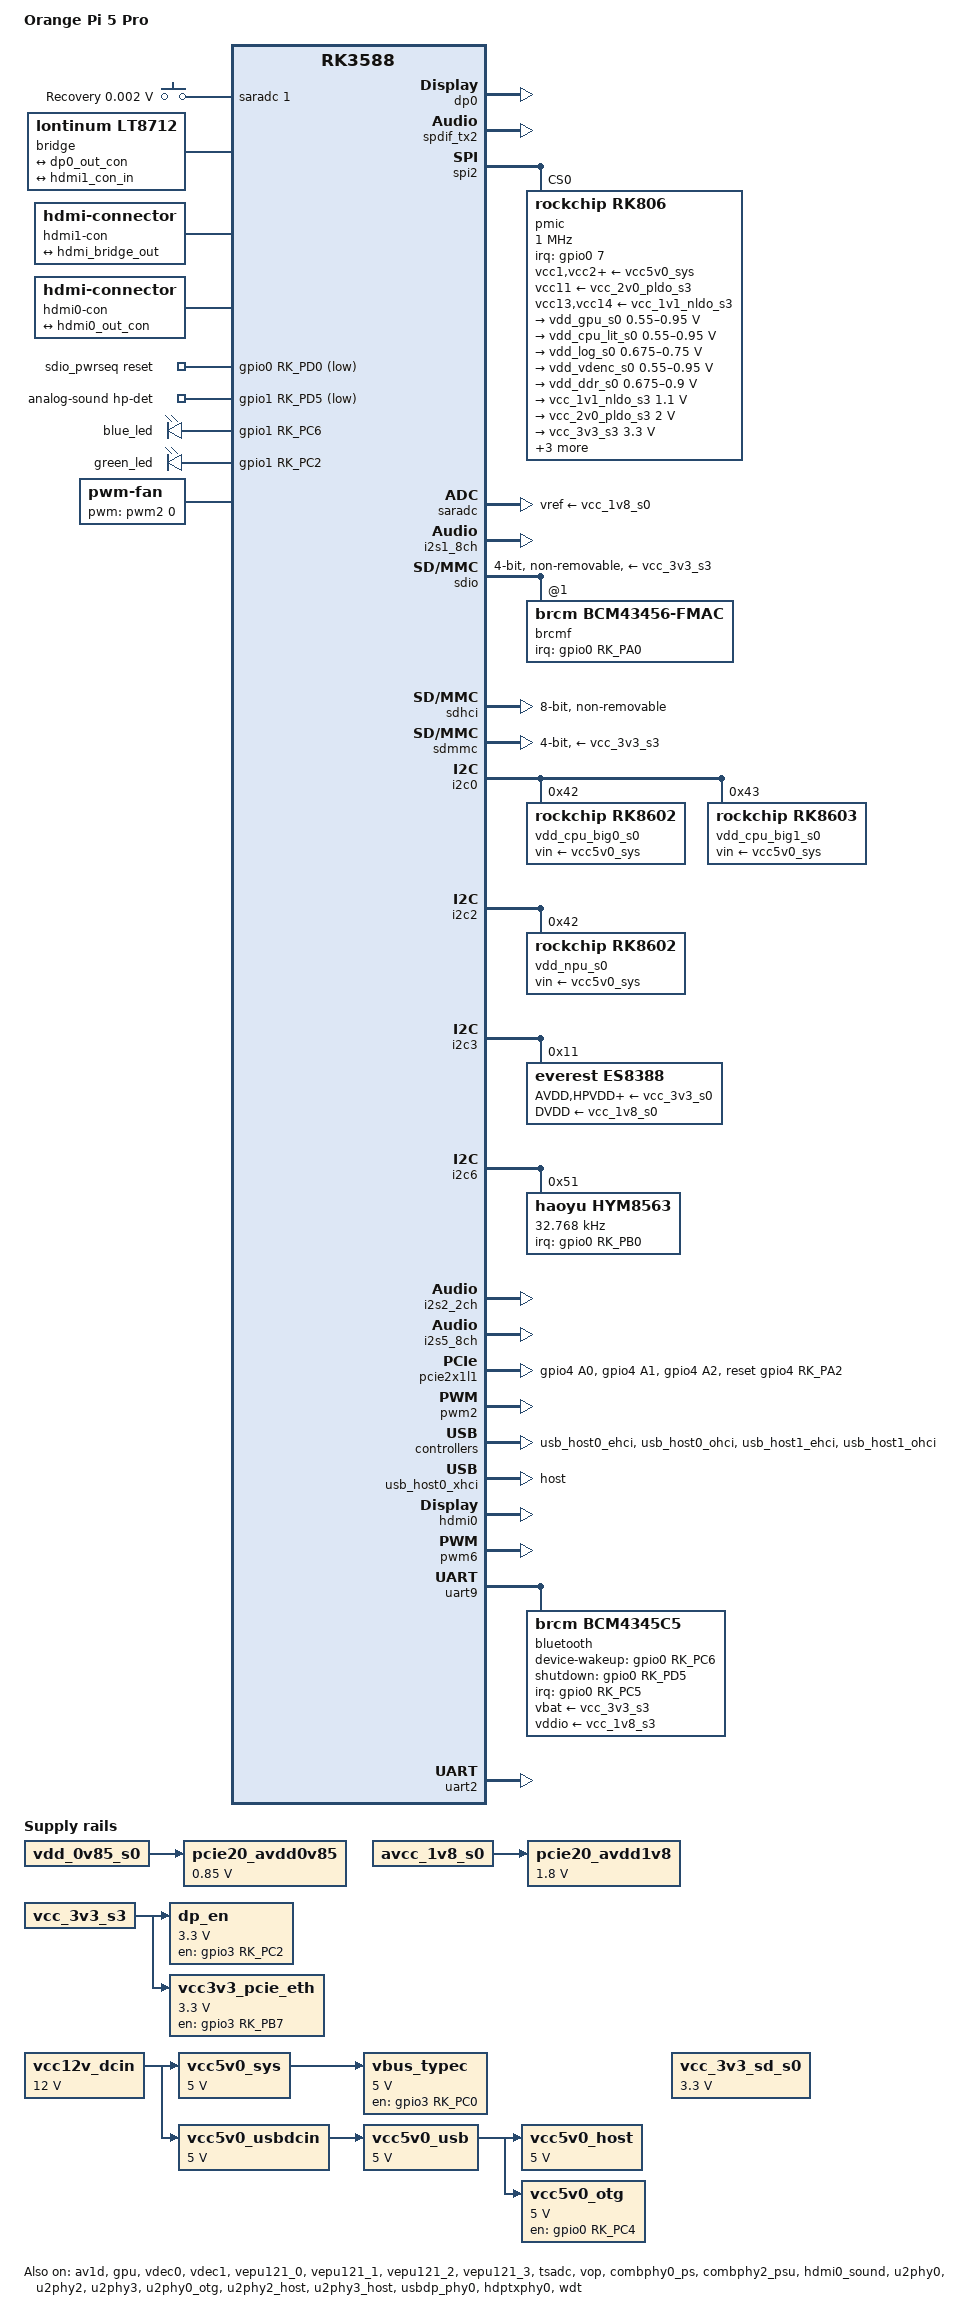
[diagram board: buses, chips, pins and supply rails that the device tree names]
// SPDX-License-Identifier: (GPL-2.0+ OR MIT)

/dts-v1/;


#include <dt-bindings/gpio/gpio.h>
#include <dt-bindings/leds/common.h>
#include <dt-bindings/input/input.h>
#include <dt-bindings/pinctrl/rockchip.h>
#include <dt-bindings/usb/pd.h>
#include <dt-bindings/soc/rockchip,vop2.h>
#include "rk3588s-3.dtsi"

#include <dt-bindings/interrupt-controller/irq.h>
#include <dt-bindings/interrupt-controller/arm-gic.h>

/ {
	model = "Orange Pi 5 Pro";
	compatible = "rockchip,rk3588s-orangepi-5-pro", "rockchip,rk3588";

    aliases {
		mmc0 = &sdhci;
		mmc1 = &sdmmc;
		mmc2 = &sdio;
	};

    chosen {
		stdout-path = "serial2:1500000n8";
	};

	adc-keys {
		compatible = "adc-keys";
		io-channels = <&saradc 1>;
		io-channel-names = "buttons";
		keyup-threshold-microvolt = <1800000>;
		poll-interval = <100>;

		button-recovery {
			label = "Recovery";
			linux,code = <KEY_VENDOR>;
			press-threshold-microvolt = <1800>;
		};
	};

	bridge {
		compatible = "lontinum,lt8712";

		ports {
			#address-cells = <1>;
			#size-cells = <0>;
			port@0 {
				reg = <0>;
				hdmi_bridge_in: endpoint {
					remote-endpoint = <&dp0_out_con>;
				};
			};

			port@1 {
				reg = <1>;
				hdmi_bridge_out: endpoint {
					remote-endpoint = <&hdmi1_con_in>;
				};
			};
		};
	};

	hdmi1-con {
		compatible = "hdmi-connector";
		type = "a";
		port {
			hdmi1_con_in: endpoint {
				remote-endpoint = <&hdmi_bridge_out>;
			};
		};
	};


    hdmi0-con {
		compatible = "hdmi-connector";
		type = "a";

		port {
			hdmi0_con_in: endpoint {
				remote-endpoint = <&hdmi0_out_con>;
			};
		};
	};

    vbus_typec: vbus-typec-regulator {
		compatible = "regulator-fixed";
		enable-active-high;
		gpio = <&gpio3 RK_PC0 GPIO_ACTIVE_HIGH>;
		pinctrl-names = "default";
		pinctrl-0 = <&typec5v_pwren>;
		regulator-name = "vbus_typec";
		regulator-min-microvolt = <5000000>;
		regulator-max-microvolt = <5000000>;
		vin-supply = <&vcc5v0_sys>;
	};

    
	vcc12v_dcin: vcc12v-dcin {
		compatible = "regulator-fixed";
		regulator-name = "vcc12v_dcin";
		regulator-always-on;
		regulator-boot-on;
		regulator-min-microvolt = <12000000>;
		regulator-max-microvolt = <12000000>;
	};

	vcc5v0_sys: vcc5v0-sys {
		compatible = "regulator-fixed";
		regulator-name = "vcc5v0_sys";
		regulator-always-on;
		regulator-boot-on;
		regulator-min-microvolt = <5000000>;
		regulator-max-microvolt = <5000000>;
		vin-supply = <&vcc12v_dcin>;
	};

	vcc5v0_usbdcin: vcc5v0-usbdcin {
		compatible = "regulator-fixed";
		regulator-name = "vcc5v0_usbdcin";
		regulator-always-on;
		regulator-boot-on;
		regulator-min-microvolt = <5000000>;
		regulator-max-microvolt = <5000000>;
		vin-supply = <&vcc12v_dcin>;
	};

	vcc5v0_usb: vcc5v0-usb {
		compatible = "regulator-fixed";
		regulator-name = "vcc5v0_usb";
		regulator-always-on;
		regulator-boot-on;
		regulator-min-microvolt = <5000000>;
		regulator-max-microvolt = <5000000>;
		vin-supply = <&vcc5v0_usbdcin>;
	};

	//vcc_1v1_nldo_s3: vcc-1v1-nldo-s3 {
	//	compatible = "regulator-fixed";
	//	regulator-name = "vcc_1v1_nldo_s3";
	//	regulator-always-on;
	//	regulator-boot-on;
	//	regulator-min-microvolt = <1100000>;
	//	regulator-max-microvolt = <1100000>;
	//	vin-supply = <&vcc5v0_sys>;
	//};

	vcc_3v3_sd_s0: vcc-3v3-sd-s0 {
		compatible = "regulator-fixed";
		regulator-name = "vcc_3v3_sd_s0";
		regulator-min-microvolt = <3300000>;
		regulator-max-microvolt = <3300000>;
	};

	pcie20_avdd0v85: pcie20-avdd0v85 {
		compatible = "regulator-fixed";
		regulator-name = "pcie20_avdd0v85";
		regulator-boot-on;
		regulator-always-on;
		regulator-min-microvolt = <850000>;
		regulator-max-microvolt = <850000>;
		vin-supply = <&vdd_0v85_s0>;
	};

	pcie20_avdd1v8: pcie20-avdd1v8 {
		compatible = "regulator-fixed";
		regulator-name = "pcie20_avdd1v8";
		regulator-boot-on;
		regulator-always-on;
		regulator-min-microvolt = <1800000>;
		regulator-max-microvolt = <1800000>;
		vin-supply = <&avcc_1v8_s0>;
	};

	dp_en: dp-en {
		compatible = "regulator-fixed";
		regulator-name = "dp_en";
		regulator-min-microvolt = <3300000>;
		regulator-max-microvolt = <3300000>;
		enable-active-high;
		regulator-boot-on;
		regulator-always-on;
		gpios = <&gpio3 RK_PC2 GPIO_ACTIVE_HIGH>;
		vin-supply = <&vcc_3v3_s3>;
	};

	vcc5v0_host: vcc5v0-host {
		compatible = "regulator-fixed";
		regulator-name = "vcc5v0_host";
		regulator-boot-on;
		regulator-always-on;
		regulator-min-microvolt = <5000000>;
		regulator-max-microvolt = <5000000>;
		vin-supply = <&vcc5v0_usb>;
	};

	vcc5v0_otg: vcc5v0-otg {
		compatible = "regulator-fixed";
		regulator-name = "vcc5v0_otg";
		regulator-min-microvolt = <5000000>;
		regulator-max-microvolt = <5000000>;
		enable-active-high;
		gpio = <&gpio0 RK_PC4 GPIO_ACTIVE_HIGH>;
		pinctrl-names = "default";
		pinctrl-0 = <&vcc5v0_otg_en>;
		vin-supply = <&vcc5v0_usb>;
	};

	vcc3v3_pcie_eth: vcc3v3-pcie-eth {
		compatible = "regulator-fixed";
		regulator-name = "vcc3v3_pcie_eth";
		regulator-min-microvolt = <3300000>;
		regulator-max-microvolt = <3300000>;
		regulator-boot-on;
		regulator-always-on;
		enable-active-high;
		gpios = <&gpio3 RK_PB7 GPIO_ACTIVE_LOW>;
		vin-supply = <&vcc_3v3_s3>;
	};

	sdio_pwrseq: sdio-pwrseq {
		compatible = "mmc-pwrseq-simple";
		clocks = <&hym8563>;
		clock-names = "ext_clock";
		pinctrl-names = "default";
		pinctrl-0 = <&wifi_enable_h>;
		/*
		 * On the module itself this is one of these (depending
		 * on the actual card populated):
		 * - SDIO_RESET_L_WL_REG_ON
		 * - PDN (power down when low)
		 */
		post-power-on-delay-ms = <200>;
		reset-gpios = <&gpio0 RK_PD0 GPIO_ACTIVE_LOW>;
	};

	
	analog-sound {
		compatible = "simple-audio-card";
		pinctrl-names = "default";
		pinctrl-0 = <&hp_det>;
		simple-audio-card,name = "es8388";
		simple-audio-card,bitclock-master = <&masterdai>;
		simple-audio-card,format = "i2s";
		simple-audio-card,frame-master = <&masterdai>;
		simple-audio-card,hp-det-gpios = <&gpio1 RK_PD5 GPIO_ACTIVE_LOW>;
		simple-audio-card,mclk-fs = <256>;
		simple-audio-card,pin-switches = "Headphones";
		simple-audio-card,routing =
			"Headphones", "LOUT1",
			"Headphones", "ROUT1",
			"LINPUT1", "Microphone Jack",
			"RINPUT1", "Microphone Jack",
			"LINPUT2", "Onboard Microphone",
			"RINPUT2", "Onboard Microphone";
		simple-audio-card,widgets =
			"Microphone", "Microphone Jack",
			"Microphone", "Onboard Microphone",
			"Headphone", "Headphones";

		simple-audio-card,cpu {
			sound-dai = <&i2s2_2ch>;
			//sound-dai = <&i2s1_8ch>;
		};

		masterdai: simple-audio-card,codec {
			sound-dai = <&es8388>;
			system-clock-frequency = <12288000>;
		};
	};


	leds: gpio-leds {
		compatible = "gpio-leds";
		pinctrl-names = "default";
		pinctrl-0 =<&leds_rgb>;
		status = "okay";

		blue_led@1 {
			gpios = <&gpio1 RK_PC6 GPIO_ACTIVE_HIGH>;
			label = "blue_led";
			linux,default-trigger = "heartbeat";
			linux,default-trigger-delay-ms = <0>;
		};

		green_led@2 {
			gpios = <&gpio1 RK_PC2 GPIO_ACTIVE_HIGH>;
			label = "green_led";
			linux,default-trigger = "disk-activity";
			linux,default-trigger-delay-ms = <0>;
		};
		

        
	};


	fan: pwm-fan {
		compatible = "pwm-fan";
		#cooling-cells = <2>;
		pwms = <&pwm2 0 50000 0>;
		cooling-levels = <0 50 100 150 200 255>;
		rockchip,temp-trips = <
			50000   1
			55000   2
			60000   3
			65000   4
			70000   5
		>;

		status = "okay";
	};
};

&av1d {
	status = "okay";
};

&gpu {
	mali-supply = <&vdd_gpu_s0>;
	status = "okay";
};


&dp0 {
	
	pinctrl-0 = <&dp0m0_pins>;
	pinctrl-names = "default";
	status = "okay";
};


&dp0_in {
	dp0_in_vp1: endpoint {
		remote-endpoint = <&vp1_out_dp0>;
	};
};

&dp0_out {
	dp0_out_con: endpoint {
		remote-endpoint = <&hdmi_bridge_in>;
	};
};

&spdif_tx2{
	status = "okay";
};

&vdec0 {
    status = "okay";
};

&vdec1 {
    status = "okay";
};

// &vdec0_mmu {
// 	status = "disabled";
// };

&av1d {
	status = "okay";
};

&vdec0_sram {
	status = "okay";
};

&vdec1_sram {
	status = "okay";
};

&vepu121_0 {
	status = "okay";
};

&vepu121_0_mmu {
	status = "okay";
};

&vepu121_1 {
	status = "okay";
};

&vepu121_1_mmu {
	status = "okay";
};

&vepu121_2 {
	status = "okay";
};

&vepu121_2_mmu {
	status = "okay";
};

&vepu121_3 {
	status = "okay";
};

&vepu121_3_mmu {
	status = "okay";
};

&spi2 {
	status = "okay";
	assigned-clocks = <&cru CLK_SPI2>;
	assigned-clock-rates = <200000000>;
	pinctrl-names = "default";
	pinctrl-0 = <&spi2m2_cs0 &spi2m2_pins>;
	num-cs = <1>;

	pmic@0 {
		compatible = "rockchip,rk806";
		reg = <0x0>;
		interrupt-parent = <&gpio0>;
		interrupts = <7 IRQ_TYPE_LEVEL_LOW>;
		pinctrl-names = "default";
		pinctrl-0 = <&pmic_pins>, <&rk806_dvs1_null>,
				<&rk806_dvs2_null>, <&rk806_dvs3_null>;
		spi-max-frequency = <1000000>;
		system-power-controller;

		vcc1-supply = <&vcc5v0_sys>;
		vcc2-supply = <&vcc5v0_sys>;
		vcc3-supply = <&vcc5v0_sys>;
		vcc4-supply = <&vcc5v0_sys>;
		vcc5-supply = <&vcc5v0_sys>;
		vcc6-supply = <&vcc5v0_sys>;
		vcc7-supply = <&vcc5v0_sys>;
		vcc8-supply = <&vcc5v0_sys>;
		vcc9-supply = <&vcc5v0_sys>;
		vcc10-supply = <&vcc5v0_sys>;
		vcc11-supply = <&vcc_2v0_pldo_s3>;
		vcc12-supply = <&vcc5v0_sys>;
		vcc13-supply = <&vcc_1v1_nldo_s3>;
		vcc14-supply = <&vcc_1v1_nldo_s3>;
		vcca-supply = <&vcc5v0_sys>;

		gpio-controller;
		#gpio-cells = <2>;

		rk806_dvs1_null: dvs1-null-pins {
			pins = "gpio_pwrctrl1";
			function = "pin_fun0";
		};

		rk806_dvs2_null: dvs2-null-pins {
			pins = "gpio_pwrctrl2";
			function = "pin_fun0";
		};

		rk806_dvs3_null: dvs3-null-pins {
			pins = "gpio_pwrctrl3";
			function = "pin_fun0";
		};

		regulators {
			vdd_gpu_s0: dcdc-reg1 {
				regulator-name = "vdd_gpu_s0";
				regulator-boot-on;
				regulator-min-microvolt = <550000>;
				regulator-max-microvolt = <950000>;
				regulator-ramp-delay = <12500>;
				regulator-enable-ramp-delay = <400>;

				regulator-state-mem {
					regulator-off-in-suspend;
				};
			};

			vdd_cpu_lit_s0: dcdc-reg2 {
				regulator-name = "vdd_cpu_lit_s0";
				regulator-always-on;
				regulator-boot-on;
				regulator-min-microvolt = <550000>;
				regulator-max-microvolt = <950000>;
				regulator-ramp-delay = <12500>;

				regulator-state-mem {
					regulator-off-in-suspend;
				};
			};

			vdd_log_s0: dcdc-reg3 {
				regulator-name = "vdd_log_s0";
				regulator-always-on;
				regulator-boot-on;
				regulator-min-microvolt = <675000>;
				regulator-max-microvolt = <750000>;
				regulator-ramp-delay = <12500>;

				regulator-state-mem {
					regulator-off-in-suspend;
					regulator-suspend-microvolt = <750000>;
				};
			};

			vdd_vdenc_s0: dcdc-reg4 {
				regulator-name = "vdd_vdenc_s0";
				regulator-always-on;
				regulator-boot-on;
				regulator-min-microvolt = <550000>;
				regulator-max-microvolt = <950000>;
				regulator-ramp-delay = <12500>;

				regulator-state-mem {
					regulator-off-in-suspend;
				};
			};

			vdd_ddr_s0: dcdc-reg5 {
				regulator-name = "vdd_ddr_s0";
				regulator-always-on;
				regulator-boot-on;
				regulator-min-microvolt = <675000>;
				regulator-max-microvolt = <900000>;
				regulator-ramp-delay = <12500>;

				regulator-state-mem {
					regulator-off-in-suspend;
					regulator-suspend-microvolt = <850000>;
				};
			};

			vcc_1v1_nldo_s3: vdd2_ddr_s3: dcdc-reg6 {
				regulator-name = "vdd2_ddr_s3";
				regulator-always-on;
				regulator-boot-on;
				regulator-max-microvolt = <1100000>;
				regulator-min-microvolt = <1100000>;

				regulator-state-mem {
					regulator-on-in-suspend;
				};
			};

			vcc_2v0_pldo_s3: dcdc-reg7 {
				regulator-name = "vdd_2v0_pldo_s3";
				regulator-always-on;
				regulator-boot-on;
				regulator-min-microvolt = <2000000>;
				regulator-max-microvolt = <2000000>;
				regulator-ramp-delay = <12500>;

				regulator-state-mem {
					regulator-on-in-suspend;
					regulator-suspend-microvolt = <2000000>;
				};
			};

			vcc_3v3_s3: dcdc-reg8 {
				regulator-name = "vcc_3v3_s3";
				regulator-always-on;
				regulator-boot-on;
				regulator-min-microvolt = <3300000>;
				regulator-max-microvolt = <3300000>;

				regulator-state-mem {
					regulator-on-in-suspend;
					regulator-suspend-microvolt = <3300000>;
				};
			};

			vddq_ddr_s0: dcdc-reg9 {
				regulator-name = "vddq_ddr_s0";
				regulator-always-on;
				regulator-boot-on;

				regulator-state-mem {
					regulator-off-in-suspend;
				};
			};

			vcc_1v8_s3: dcdc-reg10 {
				regulator-name = "vcc_1v8_s3";
				regulator-always-on;
				regulator-boot-on;
				regulator-min-microvolt = <1800000>;
				regulator-max-microvolt = <1800000>;

				regulator-state-mem {
					regulator-on-in-suspend;
					regulator-suspend-microvolt = <1800000>;
				};
			};

			avcc_1v8_s0: pldo-reg1 {
				regulator-name = "avcc_1v8_s0";
				regulator-always-on;
				regulator-boot-on;
				regulator-min-microvolt = <1800000>;
				regulator-max-microvolt = <1800000>;

				regulator-state-mem {
					regulator-off-in-suspend;
				};
			};

			vcc_1v8_s0: pldo-reg2 {
				regulator-name = "vcc_1v8_s0";
				regulator-always-on;
				regulator-boot-on;
				regulator-min-microvolt = <1800000>;
				regulator-max-microvolt = <1800000>;

				regulator-state-mem {
					regulator-off-in-suspend;
					regulator-suspend-microvolt = <1800000>;
				};
			};

			avdd_1v2_s0: pldo-reg3 {
				regulator-name = "avdd_1v2_s0";
				regulator-always-on;
				regulator-boot-on;
				regulator-min-microvolt = <1200000>;
				regulator-max-microvolt = <1200000>;

				regulator-state-mem {
					regulator-off-in-suspend;
				};
			};

			vcc_3v3_s0: pldo-reg4 {
				regulator-name = "vcc_3v3_s0";
				regulator-always-on;
				regulator-boot-on;
				regulator-min-microvolt = <3300000>;
				regulator-max-microvolt = <3300000>;
				regulator-ramp-delay = <12500>;

				regulator-state-mem {
					regulator-off-in-suspend;
				};
			};

			vccio_sd_s0: pldo-reg5 {
				regulator-name = "vccio_sd_s0";
				regulator-always-on;
				regulator-boot-on;
				regulator-min-microvolt = <1800000>;
				regulator-max-microvolt = <3300000>;
				regulator-ramp-delay = <12500>;

				regulator-state-mem {
					regulator-off-in-suspend;
				};
			};

			pldo6_s3: pldo-reg6 {
				regulator-name = "pldo6_s3";
				regulator-always-on;
				regulator-boot-on;
				regulator-min-microvolt = <1800000>;
				regulator-max-microvolt = <1800000>;

				regulator-state-mem {
					regulator-on-in-suspend;
					regulator-suspend-microvolt = <1800000>;
				};
			};

			vdd_0v75_s3: nldo-reg1 {
				regulator-name = "vdd_0v75_s3";
				regulator-always-on;
				regulator-boot-on;
				regulator-min-microvolt = <750000>;
				regulator-max-microvolt = <750000>;

				regulator-state-mem {
					regulator-on-in-suspend;
					regulator-suspend-microvolt = <750000>;
				};
			};

			vdd_ddr_pll_s0: nldo-reg2 {
				regulator-name = "vdd_ddr_pll_s0";
				regulator-always-on;
				regulator-boot-on;
				regulator-min-microvolt = <850000>;
				regulator-max-microvolt = <850000>;

				regulator-state-mem {
					regulator-off-in-suspend;
					regulator-suspend-microvolt = <850000>;
				};
			};

			avdd_0v75_s0: nldo-reg3 {
				regulator-name = "avdd_0v75_s0";
				regulator-always-on;
				regulator-boot-on;
				regulator-min-microvolt = <750000>;
				regulator-max-microvolt = <750000>;

				regulator-state-mem {
					regulator-off-in-suspend;
				};
			};

			vdd_0v85_s0: nldo-reg4 {
				regulator-name = "vdd_0v85_s0";
				regulator-always-on;
				regulator-boot-on;
				regulator-min-microvolt = <850000>;
				regulator-max-microvolt = <850000>;

				regulator-state-mem {
					regulator-off-in-suspend;
				};
			};

			vdd_0v75_s0: nldo-reg5 {
				regulator-name = "vdd_0v75_s0";
				regulator-always-on;
				regulator-boot-on;
				regulator-min-microvolt = <750000>;
				regulator-max-microvolt = <750000>;

				regulator-state-mem {
					regulator-off-in-suspend;
				};
			};
		};
	};
};

&saradc {
	status = "okay";
	vref-supply = <&vcc_1v8_s0>;
};


&i2s1_8ch{

	/*rockchip,i2s-tx-route = <3 2 1 0>;
	rockchip,i2s-rx-route = <1 3 2 0>;
	pinctrl-names = "default";
	pinctrl-0 = <&i2s1m0_sclk
	             &i2s1m0_mclk
	             &i2s1m0_lrck
	             &i2s1m0_sdi1
	             &i2s1m0_sdo3>;*/
	status = "okay";

};


&sdio {
	max-frequency = <150000000>;
	//clock-frequency = <50000000>;
	no-sd;
	no-mmc;
	#address-cells = <1>;
	#size-cells = <0>;
	bus-width = <4>;
	disable-wp;
	cap-sd-highspeed;
	cap-sdio-irq;
	keep-power-in-suspend;
	mmc-pwrseq = <&sdio_pwrseq>;
	non-removable;
	pinctrl-names = "default";
	vmmc-supply = <&vcc_3v3_s3>;
	vqmmc-supply = <&vccio_sd_s0>;
	//vqmmc-supply = <&vcc_1v8_s3>;
	//pinctrl-0 = <&sdmmc_clk &sdmmc_cmd &sdmmc_det &sdmmc_bus4 &wifi_poweren_pin>;
	//pinctrl-0 = <&sdiom1_pins &wifi_poweren_pin>;
	pinctrl-0 = <&sdiom1_pins>;
	sd-uhs-sdr104;
	status = "okay";

	brcmf: wifi@1 {

        compatible = "brcm,bcm43456-fmac", "brcm,bcm4329-fmac";
        reg = <1>;
        interrupt-parent = <&gpio0>;
        interrupts = <RK_PA0 GPIO_ACTIVE_HIGH>;  // From wifi_host_wake_irq
       	interrupt-names = "host-wake";
        pinctrl-names = "default";
		//clock-names = "lpo";
        pinctrl-0 = <&wifi_host_wake_irq>;
		status = "okay";
    };
	
};

&sdhci {
	bus-width = <8>;
	no-sdio;
	no-sd;
	non-removable;
	max-frequency = <200000000>;
	mmc-hs400-1_8v;
	mmc-hs400-enhanced-strobe;
	status = "okay";
};

&sdmmc {
	max-frequency = <150000000>;
	no-sdio;
	no-mmc;
	bus-width = <4>;
	cap-mmc-highspeed;
	cap-sd-highspeed;
	disable-wp;
	sd-uhs-sdr104;
	vmmc-supply = <&vcc_3v3_s3>;
	vqmmc-supply = <&vccio_sd_s0>;
	status = "okay";
};

&tsadc {
	status = "okay";
};

// &vpu121 {
// 	status = "okay";
// };

&vop {
	status = "okay";
};

&vop_mmu {
	status = "okay";
};

&hdmi0_in {
	hdmi0_in_vp0: endpoint {
		remote-endpoint = <&vp0_out_hdmi0>;
	};
};

&vp0 {
	vp0_out_hdmi0: endpoint@ROCKCHIP_VOP2_EP_HDMI0 {
		reg = <ROCKCHIP_VOP2_EP_HDMI0>;
		remote-endpoint = <&hdmi0_in_vp0>;
	};
};

&vp1 {
	vp1_out_dp0: endpoint@a {
		reg = <ROCKCHIP_VOP2_EP_DP0>;
		remote-endpoint = <&dp0_in_vp1>;
	};
};


&cpu_l0 {
	cpu-supply = <&vdd_cpu_lit_s0>;
};

&cpu_l1 {
	cpu-supply = <&vdd_cpu_lit_s0>;
};

&cpu_l2 {
	cpu-supply = <&vdd_cpu_lit_s0>;
};

&cpu_l3 {
	cpu-supply = <&vdd_cpu_lit_s0>;
};

&cpu_b0 {
	cpu-supply = <&vdd_cpu_big0_s0>;
};

&cpu_b1 {
	cpu-supply = <&vdd_cpu_big0_s0>;
};

&cpu_b2 {
	cpu-supply = <&vdd_cpu_big1_s0>;
};

&cpu_b3 {
	cpu-supply = <&vdd_cpu_big1_s0>;
};

&combphy0_ps {
	status = "okay";
};

&combphy2_psu {
	status = "okay";
};

&i2c0 {
	pinctrl-names = "default";
	pinctrl-0 = <&i2c0m2_xfer>;
	status = "okay";

	vdd_cpu_big0_s0: regulator@42 {
		compatible = "rockchip,rk8602";
		reg = <0x42>;
		fcs,suspend-voltage-selector = <1>;
		regulator-name = "vdd_cpu_big0_s0";
		regulator-always-on;
		regulator-boot-on;
		regulator-min-microvolt = <550000>;
		regulator-max-microvolt = <1050000>;
		regulator-ramp-delay = <2300>;
		vin-supply = <&vcc5v0_sys>;

		regulator-state-mem {
			regulator-off-in-suspend;
		};
	};

	vdd_cpu_big1_s0: regulator@43 {
		compatible = "rockchip,rk8603", "rockchip,rk8602";
		reg = <0x43>;
		fcs,suspend-voltage-selector = <1>;
		regulator-name = "vdd_cpu_big1_s0";
		regulator-always-on;
		regulator-boot-on;
		regulator-min-microvolt = <550000>;
		regulator-max-microvolt = <1050000>;
		regulator-ramp-delay = <2300>;
		vin-supply = <&vcc5v0_sys>;

		regulator-state-mem {
			regulator-off-in-suspend;
		};
	};
};

&i2c2 {
	status = "okay";

	vdd_npu_s0: regulator@42 {
		compatible = "rockchip,rk8602";
		reg = <0x42>;
		fcs,suspend-voltage-selector = <1>;
		regulator-name = "vdd_npu_s0";
		regulator-always-on;
		regulator-boot-on;
		regulator-min-microvolt = <550000>;
		regulator-max-microvolt = <950000>;
		regulator-ramp-delay = <2300>;
		vin-supply = <&vcc5v0_sys>;

		regulator-state-mem {
			regulator-off-in-suspend;
		};
	};
};

&i2c3 {
	pinctrl-names = "default";
	//pinctrl-0 = <&i2c6m3_xfer>;
	
	status = "okay";
	es8388: audio-codec@11 {
		
		#sound-dai-cells = <0>;
		compatible = "everest,es8388";
		reg = <0x11>;
		AVDD-supply = <&vcc_3v3_s0>;
		DVDD-supply = <&vcc_1v8_s0>;
		HPVDD-supply = <&vcc_3v3_s0>;
		PVDD-supply = <&vcc_3v3_s0>;
		clocks = <&cru I2S2_2CH_MCLKOUT>;
		assigned-clocks = <&cru I2S2_2CH_MCLKOUT>;
		assigned-clock-rates = <12288000>;
		pinctrl-0 = <&i2s2m1_mclk>;
		
		
	};
};

/*&i2c6 {
	status = "okay";
	pinctrl-names = "default";
	pinctrl-0 = <&i2c6m3_xfer>;

	hym8563: hym8563@51 {
		compatible = "haoyu,hym8563";
		reg = <0x51>;
		#clock-cells = <0>;
		clock-frequency = <32768>;
		clock-output-names = "hym8563";
		pinctrl-names = "default";
		pinctrl-0 = <&hym8563_int>;
		interrupt-parent = <&gpio0>;
		interrupts = <RK_PB0 IRQ_TYPE_LEVEL_LOW>;
		status = "okay";
	};

};*/
&i2c6 {
	//clock-frequency = <400000>;
	pinctrl-0 = <&i2c6m3_xfer>;
	status = "okay";

	hym8563: rtc@51 {
		compatible = "haoyu,hym8563";
		interrupt-parent = <&gpio0>;
		interrupts = <RK_PB0 IRQ_TYPE_LEVEL_LOW>;
		pinctrl-names = "default";
		clock-frequency = <32768>;
		pinctrl-0 = <&hym8563_int>;
		reg = <0x51>;
		#clock-cells = <0>;
		clock-output-names = "hym8563";
		wakeup-source;
		status = "okay";
	};
};

&i2s2_2ch {
	status = "okay";

	// pinctrl-0 = <&i2s2m1_lrck
	// 	     &i2s2m1_sclk
	// 	     &i2s2m1_sdi
	// 	     &i2s2m1_sdo>;
};

&i2s5_8ch {
	status = "okay";
};

&hdmi0_sound{
	status = "okay";
};

// &i2s0_8ch{

// 	status = "disabled";
// };

//phy2
&pcie2x1l1 {
	reset-gpios = <&gpio4 RK_PA2 GPIO_ACTIVE_HIGH>;
	pinctrl-names = "default";
	pinctrl-0 = <&pcie_clkreq &pcie_wake &pcie_rst>;
	status = "okay";
};

//phy0
&pcie2x1l2 {
	reset-gpios = <&gpio3 RK_PD1 GPIO_ACTIVE_HIGH>;
	status = "disabled";
};

&pinctrl {
    leds_gpio {
		leds_rgb: leds-rgb {
			rockchip,pins = <1 RK_PC6 RK_FUNC_GPIO &pcfg_pull_none>,
					<1 RK_PC2 RK_FUNC_GPIO &pcfg_pull_none>;
		};
	};

	sdio-pwrseq {
		wifi_enable_h: wifi-enable-h {
			rockchip,pins = <0 RK_PD0 RK_FUNC_GPIO &pcfg_pull_none>;
		};
	};

	headphone {
		hp_det: hp-det {
			rockchip,pins = <1 RK_PD5 RK_FUNC_GPIO &pcfg_pull_none>;
		};
	};

	hym8563 {
		hym8563_int: hym8563-int {
			rockchip,pins = <0 RK_PB0 RK_FUNC_GPIO &pcfg_pull_up>;
			//rockchip,pins = <0 RK_PC4 RK_FUNC_GPIO &pcfg_pull_none>;
		};
	};
	dp0 {
		dp0_hpd: dp0-hpd {
			rockchip,pins = <4 RK_PB4 RK_FUNC_GPIO &pcfg_pull_none>;
		};
	};

    usb-typec {
		usbc0_int: usbc0-int {
			rockchip,pins = <0 RK_PD3 RK_FUNC_GPIO &pcfg_pull_up>;
		};

		typec5v_pwren: typec5v-pwren {
			rockchip,pins = <3 RK_PC0 RK_FUNC_GPIO &pcfg_pull_none>;
		};
	};

	lcd {
		lcd_rst_gpio: lcd-rst-gpio {
			rockchip,pins = <3 RK_PC0 RK_FUNC_GPIO &pcfg_pull_none>,
					<3 RK_PC1 RK_FUNC_GPIO &pcfg_pull_none>;
		};
	};

	usb {
		vcc5v0_otg_en: vcc5v0-otg-en {
			rockchip,pins = <0 RK_PC4 RK_FUNC_GPIO &pcfg_pull_none>;
		};
	};

	wireless-bluetooth {
		uart9_gpios: uart7-gpios {
			rockchip,pins = <3 RK_PD2 RK_FUNC_GPIO &pcfg_pull_none>;
		};

		bt_reset_gpio: bt-reset-gpio {
			rockchip,pins = <0 RK_PD5 RK_FUNC_GPIO &pcfg_pull_none>;
		};

		bt_wake_gpio: bt-wake-gpio {
			rockchip,pins = <0 RK_PC6 RK_FUNC_GPIO &pcfg_pull_none>;
		};

		bt_irq_gpio: bt-irq-gpio {
			rockchip,pins = <0 RK_PC5 RK_FUNC_GPIO &pcfg_pull_down>;
		};
	};

	wireless-wlan {
		wifi_host_wake_irq: wifi-host-wake-irq {
			rockchip,pins = <0 RK_PA0 RK_FUNC_GPIO &pcfg_pull_down>;
		};
	};

	pcie {

		pcie_clkreq: pcie-clkreq {
			rockchip,pins = <4 RK_PA0 RK_FUNC_GPIO &pcfg_pull_up>;
		};

		pcie_rst: pcie-rst {
			rockchip,pins = <4 RK_PA2 RK_FUNC_GPIO &pcfg_pull_up>;
		};

		pcie_wake: pcie-wake {
			rockchip,pins = <4 RK_PA1 RK_FUNC_GPIO &pcfg_pull_up>;
		};
	};

	leds_gpio {
		leds_rgb: leds-rgb {
			rockchip,pins = <1 RK_PC6 RK_FUNC_GPIO &pcfg_pull_none>,
					<1 RK_PC2 RK_FUNC_GPIO &pcfg_pull_none>;
		};
	};
};

&pwm2 {
	pinctrl-names = "active";
	pinctrl-0 = <&pwm2m1_pins>;
	interrupts = <GIC_SPI 344 IRQ_TYPE_LEVEL_HIGH>;
	clock-names = "pwm", "pclk";
	status = "okay";
};

&u2phy0 {
	status = "okay";
};

&u2phy2 {
	status = "okay";
};

&u2phy3 {
	status = "okay";
};

&u2phy0_otg {
	vbus-supply = <&vcc5v0_otg>;
	status = "okay";
};

&u2phy2_host {
	phy-supply = <&vcc5v0_host>;
	status = "okay";
};

&u2phy3_host {
	phy-supply = <&vcc5v0_host>;
	status = "okay";
};

&usb_host0_ehci {
	status = "okay";
};

&usb_host0_ohci {
	status = "okay";
};

&usb_host1_ehci {
	status = "okay";
};

&usb_host1_ohci {
	status = "okay";
};


&usb_host0_xhci {
	
	//dr_mode = "host";
	dr_mode = "host";
	extcon = <&u2phy0>;
	//maximum-speed = "high-speed";
	status = "okay";
};

&usb_host2_xhci {
	status = "disabled";
};


&usbdp_phy0 {
	status = "okay";
	rockchip,dp-lane-mux = <0 1>;
};

&hdmi0 {
	status = "okay";
	//enable-gpios = <&gpio4 RK_PB6 GPIO_ACTIVE_HIGH>;
	//cec-enable = "true";
};

// &hdptxphy_hdmi0 {
// 	status = "okay";
// };

&hdptxphy0 {
	status = "okay";
};
/* watchdog */
&wdt {
	status = "okay";
};

&sfc {
	status = "disabled";
	max-freq = <100000000>;
	#address-cells = <1>;
	#size-cells = <0>;
	pinctrl-names = "default";
	pinctrl-0 = <&fspim0_pins>;

	spi_flash: spi-flash@0 {
		#address-cells = <1>;
		#size-cells = <0>;
		compatible = "jedec,spi-nor";
		reg = <0x0>;
		spi-max-frequency = <100000000>;
		spi-tx-bus-width = <1>;
		spi-rx-bus-width = <4>;
		status = "disabled";

		partitions {
			compatible = "fixed-partitions";
			#address-cells = <1>;
			#size-cells = <1>;

			loader@0 {
				label = "loader";
				reg = <0x0 0x1000000>;
			};
		};
	};
};

&pwm6 {
	pinctrl-names = "active";
	pinctrl-0 = <&pwm6m0_pins>;
	status = "okay";
};

// &i2s4_8ch {
// 	status = "okay";
// };

&spi0 {
	assigned-clocks = <&cru CLK_SPI0>;
	assigned-clock-rates = <200000000>;
	num-cs = <2>;
};

&uart9 {
	status = "okay";
	pinctrl-names = "default";
	pinctrl-0 = <&uart9m2_xfer &uart9m2_ctsn>;

	bluetooth {
    	compatible = "brcm,bcm4345c5";  // or bcm43456 if needed
    	clocks = <&hym8563>;
		max-speed = <3000000>;
    	clock-names = "txco";
    	interrupt-parent = <&gpio0>;
    	interrupts = <RK_PC5 IRQ_TYPE_LEVEL_HIGH>;  // bt_irq_gpio
    	interrupt-names = "host-wakeup";
    	device-wakeup-gpios = <&gpio0 RK_PC6 GPIO_ACTIVE_HIGH>;  // bt_wake_gpio
    	shutdown-gpios = <&gpio0 RK_PD5 GPIO_ACTIVE_HIGH>;  // bt_reset_gpio
    	pinctrl-names = "default";
    	//pinctrl-0 = <&bt_reset_gpio>, <&bt_wake_gpio>, <&bt_irq_gpio>;
		pinctrl-0 = <&bt_reset_gpio &bt_wake_gpio &bt_irq_gpio>;
    	vbat-supply = <&vcc_3v3_s3>;  // Optional regulator (add if available)
   		vddio-supply = <&vcc_1v8_s3>;  // Optional regulator (add if available)
    	status = "okay";
    	//uart = <&uart9>;  // Link to your uart9 node
	};

};

&spi4 {
	assigned-clocks = <&cru CLK_SPI4>;
	assigned-clock-rates = <200000000>;
	num-cs = <2>;
};

&uart2 {
	pinctrl-0 = <&uart2m0_xfer>;
	status = "okay";
};

&hdmi0_out {
	hdmi0_out_con: endpoint {
		remote-endpoint = <&hdmi0_con_in>;
	};
};


